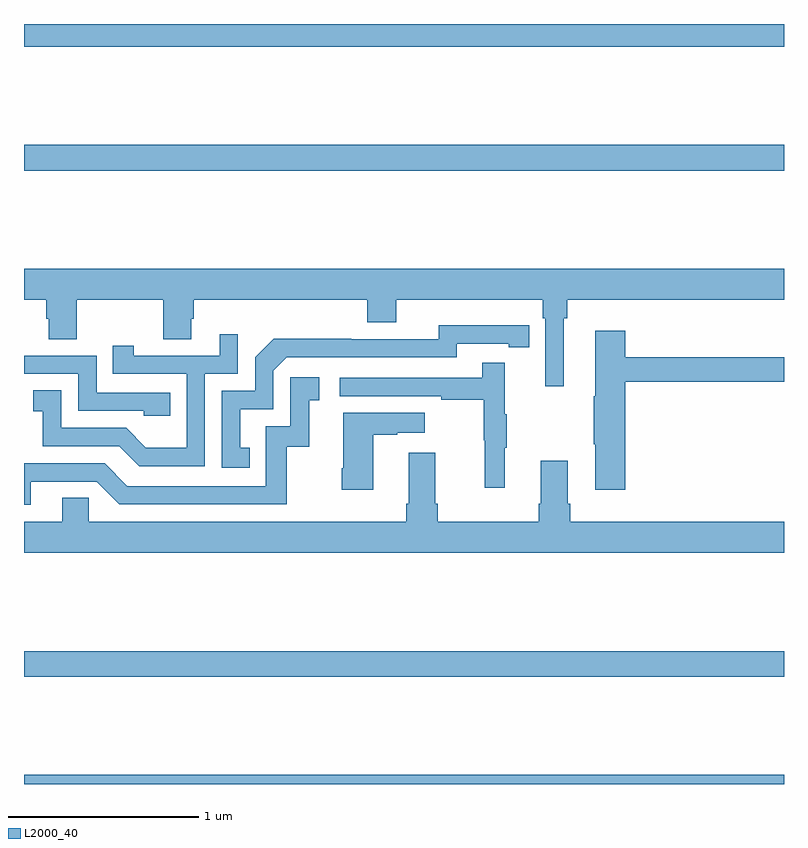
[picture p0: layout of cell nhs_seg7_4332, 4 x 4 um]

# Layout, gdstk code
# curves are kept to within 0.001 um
import gdstk
lib = gdstk.Library(unit=1e-6, precision=1e-09)
def R(c, l, rs):  # rectangles x0, y0, x1, y1
    for r in rs: c.add(gdstk.rectangle(r[:2], r[2:], *l))
def P(c, l, *ps):  # polygons
    for p in ps: c.add(gdstk.Polygon(p, *l))
L2000_40 = (2000, 40)

nhs_seg7_4332 = lib.new_cell('nhs_seg7_4332')
R(nhs_seg7_4332, L2000_40, [(383,1066,387,1066.048), (383,1066.564,387,1066.7), (383,1069.228,387,1069.364), (383,1069.88,387,1070)])
P(nhs_seg7_4332, L2000_40, [(385.84,1068.452),(385.859,1068.452),(385.859,1068.548),(387,1068.548),(387,1068.712),(383,1068.712),(383,1068.548),(383.117,1068.548),(383.117,1068.45),(383.129,1068.45),(383.129,1068.34),(383.277,1068.34),(383.277,1068.548),(383.734,1068.548),(383.734,1068.34),(383.881,1068.34),(383.881,1068.45),(383.894,1068.45),(383.894,1068.548),(384.806,1068.548),(384.806,1068.431),(384.958,1068.431),(384.958,1068.548),(385.73,1068.548),(385.73,1068.452),(385.743,1068.452),(385.743,1068.093),(385.84,1068.093)],
  [(384.188,1067.769),(384.139,1067.769),(384.139,1067.973),(384.312,1067.973),(384.312,1068.174),(384.384,1068.246),(385.278,1068.246),(385.278,1068.318),(385.55,1068.318),(385.55,1068.298),(385.658,1068.298),(385.658,1068.414),(385.182,1068.415),(385.182,1068.342),(384.722,1068.342),(384.722,1068.344),(384.314,1068.344),(384.216,1068.246),(384.216,1068.069),(384.042,1068.069),(384.042,1067.664),(384.188,1067.664)],
  [(386.165,1068.118),(387,1068.118),(387,1068.247),(386.165,1068.247),(386.165,1068.385),(386.006,1068.385),(386.006,1068.041),(385.999,1068.041),(385.999,1067.788),(386.006,1067.788),(386.006,1067.55),(386.165,1067.55)],
  [(383.952,1068.159),(384.126,1068.159),(384.126,1068.367),(384.029,1068.367),(384.029,1068.255),(383.578,1068.255),(383.578,1068.307),(383.467,1068.307),(383.467,1068.159),(383.856,1068.159),(383.856,1067.77),(383.642,1067.77),(383.538,1067.874),(383.196,1067.874),(383.196,1068.073),(383.049,1068.073),(383.049,1067.963),(383.098,1067.963),(383.098,1067.778),(383.501,1067.778),(383.606,1067.673),(383.952,1067.673)],
  [(383.771,1068.06),(383.382,1068.06),(383.382,1068.255),(383,1068.255),(383,1068.159),(383.286,1068.159),(383.286,1067.964),(383.631,1067.964),(383.631,1067.937),(383.771,1067.937)],
  [(385.529,1067.771),(385.54,1067.771),(385.54,1067.945),(385.529,1067.945),(385.529,1068.217),(385.411,1068.217),(385.411,1068.138),(384.663,1068.138),(384.663,1068.042),(385.195,1068.042),(385.195,1068.022),(385.419,1068.022),(385.419,1067.808),(385.426,1067.808),(385.426,1067.559),(385.529,1067.559)],
  [(383.035,1067.592),(383.382,1067.592),(383.502,1067.472),(384.382,1067.472),(384.382,1067.775),(384.5,1067.775),(384.5,1068.021),(384.553,1068.021),(384.553,1068.142),(384.402,1068.142),(384.402,1067.883),(384.273,1067.883),(384.273,1067.568),(383.544,1067.568),(383.424,1067.688),(383,1067.688),(383,1067.469),(383.035,1067.469)],
  [(384.838,1067.839),(384.965,1067.839),(384.965,1067.849),(385.108,1067.849),(385.108,1067.953),(384.68,1067.953),(384.68,1067.662),(384.673,1067.662),(384.673,1067.55),(384.838,1067.55)],
  [(387,1067.38),(385.874,1067.38),(385.874,1067.476),(385.861,1067.476),(385.861,1067.701),(385.721,1067.701),(385.721,1067.476),(385.709,1067.476),(385.709,1067.38),(385.178,1067.38),(385.178,1067.476),(385.165,1067.476),(385.165,1067.743),(385.025,1067.743),(385.025,1067.476),(385.013,1067.476),(385.013,1067.38),(383.34,1067.38),(383.34,1067.507),(383.201,1067.507),(383.201,1067.38),(383,1067.38),(383,1067.216),(387,1067.216)])

lib.write_gds('nhs_seg7_4332.gds')
